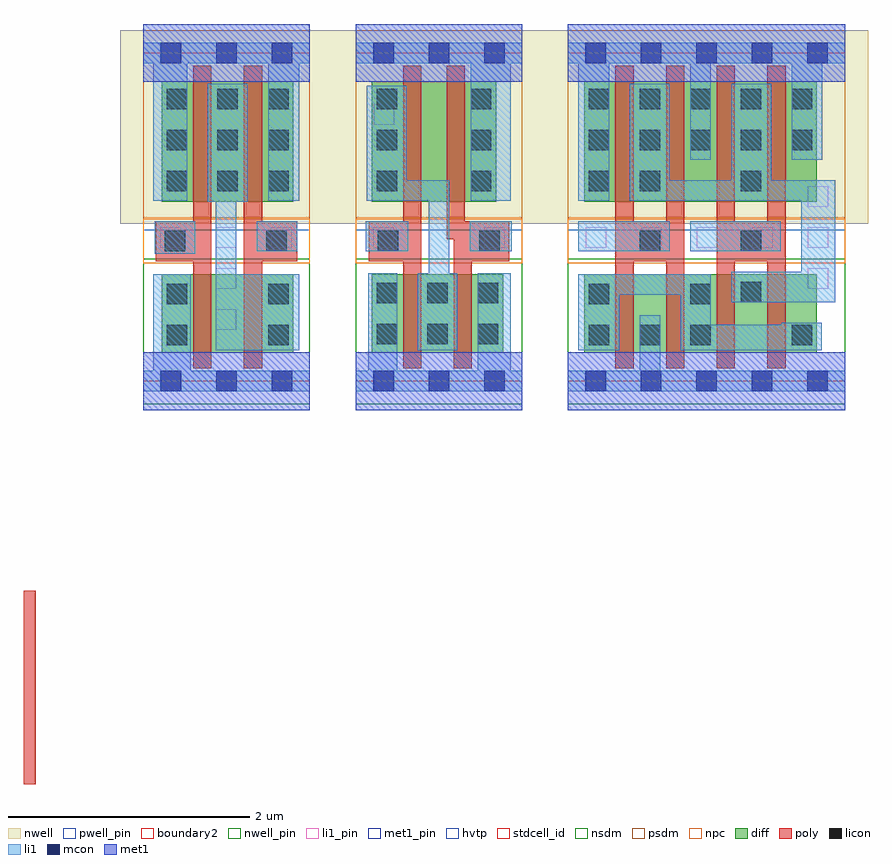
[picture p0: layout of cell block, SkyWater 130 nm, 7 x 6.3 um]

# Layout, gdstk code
import gdstk
lib = gdstk.Library(unit=1e-6, precision=1e-09)
def R(c, l, rs):  # rectangles x0, y0, x1, y1
    for r in rs: c.add(gdstk.rectangle(r[:2], r[2:], *l))
def A(c, l, x, y, w, h, nx, ny, dx, dy):  # array of equal rectangles
    R(c, l, [(x+i*dx, y+j*dy, x+i*dx+w, y+j*dy+h) for i in range(nx) for j in range(ny)])
def P(c, l, *ps):  # polygons
    for p in ps: c.add(gdstk.Polygon(p, *l))
nwell_pin = (64, 16)
nwell = (64, 20)
diff = (65, 20)
poly = (66, 20)
licon = (66, 44)
li1_pin = (67, 16)
li1 = (67, 20)
mcon = (67, 44)
met1_pin = (68, 16)
met1 = (68, 20)
hvtp = (78, 44)
stdcell_id = (81, 4)
nsdm = (93, 44)
psdm = (94, 20)
npc = (95, 20)
pwell_pin = (122, 16)
boundary2 = (236, 0)

sky130_fd_sc_hd__nand2_1 = lib.new_cell('sky130_fd_sc_hd__nand2_1')
R(sky130_fd_sc_hd__nand2_1, nwell_pin, [(0.14,2.635,0.31,2.805)])
R(sky130_fd_sc_hd__nand2_1, nwell, [(-0.19,1.305,1.57,2.91)])
R(sky130_fd_sc_hd__nand2_1, diff, [(0.155,0.235,1.245,0.885), (0.155,1.485,1.245,2.485)])
P(sky130_fd_sc_hd__nand2_1, poly, [(0.835,0.105),(0.835,2.615),(0.985,2.615),(0.985,1.325),(1.275,1.325),(1.275,0.995),(0.985,0.995),(0.985,0.105)],
  [(0.415,0.105),(0.415,0.995),(0.105,0.995),(0.105,1.325),(0.415,1.325),(0.415,2.615),(0.565,2.615),(0.565,0.105)])
A(sky130_fd_sc_hd__nand2_1, licon, 0.195, 1.575, 0.17, 0.17, 3, 3, 0.42, 0.34)
R(sky130_fd_sc_hd__nand2_1, licon, [(0.195,0.295,0.365,0.465), (1.035,0.295,1.205,0.465), (0.195,0.635,0.365,0.805), (1.035,0.635,1.205,0.805), (0.18,1.075,0.35,1.245), (1.02,1.075,1.19,1.245)])
A(sky130_fd_sc_hd__nand2_1, li1_pin, 0.14, 1.105, 0.17, 0.17, 3, 1, 0.46, 0)
R(sky130_fd_sc_hd__nand2_1, li1_pin, [(0.6,0.425,0.77,0.595), (0.6,0.765,0.77,0.935)])
R(sky130_fd_sc_hd__nand2_1, li1, [(0.095,1.055,0.43,1.325), (0.94,1.075,1.275,1.325)])
P(sky130_fd_sc_hd__nand2_1, li1, [(0,-0.085),(0,0.085),(0.085,0.085),(0.085,0.885),(0.395,0.885),(0.395,0.085),(1.38,0.085),(1.38,-0.085)],
  [(0.085,1.495),(0.085,2.635),(0,2.635),(0,2.805),(1.38,2.805),(1.38,2.635),(1.295,2.635),(1.295,1.495),(1.035,1.495),(1.035,2.635),(0.365,2.635),(0.365,1.495)],
  [(0.6,0.255),(0.6,1.485),(0.535,1.485),(0.535,2.465),(0.865,2.465),(0.865,1.485),(0.77,1.485),(0.77,0.885),(1.295,0.885),(1.295,0.255)])
A(sky130_fd_sc_hd__nand2_1, mcon, 0.145, -0.085, 0.17, 0.17, 3, 2, 0.46, 2.72)
R(sky130_fd_sc_hd__nand2_1, met1_pin, [(0.14,-0.085,0.31,0.085), (0.14,2.635,0.31,2.805)])
R(sky130_fd_sc_hd__nand2_1, hvtp, [(0,1.25,1.38,2.72)])
R(sky130_fd_sc_hd__nand2_1, stdcell_id, [(0,0,1.38,2.72)])
R(sky130_fd_sc_hd__nand2_1, nsdm, [(0,-0.19,1.38,1.015)])
R(sky130_fd_sc_hd__nand2_1, psdm, [(0,1.355,1.38,2.91)])
R(sky130_fd_sc_hd__nand2_1, npc, [(0,0.975,1.38,1.345)])
R(sky130_fd_sc_hd__nand2_1, pwell_pin, [(0.14,-0.085,0.31,0.085)])
R(sky130_fd_sc_hd__nand2_1, boundary2, [(0,0,1.38,2.72)])
sky130_fd_sc_hd__nand2_1.add(gdstk.FlexPath([(0,2.72),(1.38,2.72)], 0.48, ends="flush", simple_path=True, layer=68, datatype=20))  # met1
sky130_fd_sc_hd__nand2_1.add(gdstk.FlexPath([(0,0),(1.38,0)], 0.48, ends="flush", simple_path=True, layer=68, datatype=20))  # met1
sky130_fd_sc_hd__nand2_1.add(gdstk.Label('Y', (0.685,0.51), layer=67, texttype=5))
sky130_fd_sc_hd__nand2_1.add(gdstk.Label('Y', (0.685,0.85), layer=67, texttype=5))
sky130_fd_sc_hd__nand2_1.add(gdstk.Label('Y', (0.685,1.19), layer=67, texttype=5))
sky130_fd_sc_hd__nand2_1.add(gdstk.Label('B', (0.225,1.19), layer=67, texttype=5))
sky130_fd_sc_hd__nand2_1.add(gdstk.Label('A', (1.145,1.19), layer=67, texttype=5))
sky130_fd_sc_hd__nand2_1.add(gdstk.Label('VPB', (0.225,2.72), layer=64, texttype=5))
sky130_fd_sc_hd__nand2_1.add(gdstk.Label('VNB', (0.225,0), layer=64, texttype=59))
sky130_fd_sc_hd__nand2_1.add(gdstk.Label('VGND', (0.23,0), layer=68, texttype=5))
sky130_fd_sc_hd__nand2_1.add(gdstk.Label('VPWR', (0.225,2.72), layer=68, texttype=5))
sky130_fd_sc_hd__nand2_1.add(gdstk.Label('nand2_1', (0,0), layer=83, texttype=44))

sky130_fd_sc_hd__nor2_1 = lib.new_cell('sky130_fd_sc_hd__nor2_1')
R(sky130_fd_sc_hd__nor2_1, nwell_pin, [(0.15,2.635,0.32,2.805)])
R(sky130_fd_sc_hd__nor2_1, nwell, [(-0.19,1.305,1.57,2.91)])
R(sky130_fd_sc_hd__nor2_1, diff, [(0.135,0.235,1.225,0.885), (0.135,1.485,1.165,2.485)])
P(sky130_fd_sc_hd__nor2_1, poly, [(0.815,0.105),(0.815,1.175),(0.755,1.175),(0.755,2.615),(0.905,2.615),(0.905,1.325),(1.275,1.325),(1.275,0.995),(0.965,0.995),(0.965,0.105)],
  [(0.395,0.105),(0.395,0.995),(0.11,0.995),(0.11,1.325),(0.395,1.325),(0.395,2.615),(0.545,2.615),(0.545,0.105)])
A(sky130_fd_sc_hd__nor2_1, licon, 0.175, 0.305, 0.17, 0.17, 3, 2, 0.42, 0.34)
A(sky130_fd_sc_hd__nor2_1, licon, 0.175, 1.575, 0.17, 0.17, 1, 3, 0, 0.34)
A(sky130_fd_sc_hd__nor2_1, licon, 0.955, 1.575, 0.17, 0.17, 1, 3, 0, 0.34)
R(sky130_fd_sc_hd__nor2_1, licon, [(0.185,1.075,0.355,1.245), (1.025,1.075,1.195,1.245)])
R(sky130_fd_sc_hd__nor2_1, li1_pin, [(0.145,1.105,0.315,1.275), (1.065,1.105,1.235,1.275), (0.15,2.125,0.32,2.295)])
R(sky130_fd_sc_hd__nor2_1, li1, [(0.085,1.075,0.435,1.325), (0.945,1.075,1.295,1.325)])
P(sky130_fd_sc_hd__nor2_1, li1, [(0,-0.085),(0,0.085),(0.105,0.085),(0.105,0.895),(0.345,0.895),(0.345,0.085),(1.015,0.085),(1.015,0.895),(1.285,0.895),(1.285,0.085),(1.38,0.085),(1.38,-0.085)],
  [(0.955,1.495),(0.955,2.635),(0,2.635),(0,2.805),(1.38,2.805),(1.38,2.635),(1.285,2.635),(1.285,1.495)],
  [(0.515,0.255),(0.515,0.895),(0.605,0.895),(0.605,1.495),(0.095,1.495),(0.095,2.45),(0.425,2.45),(0.425,1.665),(0.775,1.665),(0.775,0.895),(0.845,0.895),(0.845,0.255)])
A(sky130_fd_sc_hd__nor2_1, mcon, 0.145, -0.085, 0.17, 0.17, 3, 2, 0.46, 2.72)
R(sky130_fd_sc_hd__nor2_1, met1_pin, [(0.15,-0.085,0.32,0.085), (0.15,2.635,0.32,2.805)])
R(sky130_fd_sc_hd__nor2_1, hvtp, [(0,1.25,1.38,2.72)])
R(sky130_fd_sc_hd__nor2_1, stdcell_id, [(0,0,1.38,2.72)])
R(sky130_fd_sc_hd__nor2_1, nsdm, [(0,-0.19,1.38,1.015)])
R(sky130_fd_sc_hd__nor2_1, psdm, [(0,1.355,1.38,2.91)])
R(sky130_fd_sc_hd__nor2_1, npc, [(0,0.975,1.38,1.345)])
R(sky130_fd_sc_hd__nor2_1, pwell_pin, [(0.15,-0.085,0.32,0.085)])
R(sky130_fd_sc_hd__nor2_1, boundary2, [(0,0,1.38,2.72)])
sky130_fd_sc_hd__nor2_1.add(gdstk.FlexPath([(0,2.72),(1.38,2.72)], 0.48, ends="flush", simple_path=True, layer=68, datatype=20))  # met1
sky130_fd_sc_hd__nor2_1.add(gdstk.FlexPath([(0,0),(1.38,0)], 0.48, ends="flush", simple_path=True, layer=68, datatype=20))  # met1
sky130_fd_sc_hd__nor2_1.add(gdstk.Label('B', (0.23,1.19), layer=67, texttype=5))
sky130_fd_sc_hd__nor2_1.add(gdstk.Label('Y', (0.235,2.21), layer=67, texttype=5))
sky130_fd_sc_hd__nor2_1.add(gdstk.Label('A', (1.15,1.19), layer=67, texttype=5))
sky130_fd_sc_hd__nor2_1.add(gdstk.Label('VPB', (0.235,2.72), layer=64, texttype=5))
sky130_fd_sc_hd__nor2_1.add(gdstk.Label('VNB', (0.235,0), layer=64, texttype=59))
sky130_fd_sc_hd__nor2_1.add(gdstk.Label('VGND', (0.23,0), layer=68, texttype=5))
sky130_fd_sc_hd__nor2_1.add(gdstk.Label('VPWR', (0.23,2.72), layer=68, texttype=5))
sky130_fd_sc_hd__nor2_1.add(gdstk.Label('nor2_1', (0,0), layer=83, texttype=44))

sky130_fd_sc_hd__nand2_2 = lib.new_cell('sky130_fd_sc_hd__nand2_2')
R(sky130_fd_sc_hd__nand2_2, nwell_pin, [(0.15,2.635,0.32,2.805)])
R(sky130_fd_sc_hd__nand2_2, nwell, [(-0.19,1.305,2.49,2.91)])
R(sky130_fd_sc_hd__nand2_2, diff, [(0.135,0.235,2.065,0.885), (0.135,1.485,2.065,2.485)])
P(sky130_fd_sc_hd__nand2_2, poly, [(1.235,0.105),(1.235,2.615),(1.385,2.615),(1.385,1.325),(1.655,1.325),(1.655,2.615),(1.805,2.615),(1.805,0.105),(1.655,0.105),(1.655,0.995),(1.385,0.995),(1.385,0.105)],
  [(0.395,0.105),(0.395,2.615),(0.545,2.615),(0.545,1.325),(0.815,1.325),(0.815,2.615),(0.965,2.615),(0.965,0.105),(0.815,0.105),(0.815,0.995),(0.545,0.995),(0.545,0.105)])
A(sky130_fd_sc_hd__nand2_2, licon, 0.175, 0.295, 0.17, 0.17, 3, 1, 0.42, 0)
A(sky130_fd_sc_hd__nand2_2, licon, 0.175, 1.915, 0.17, 0.17, 5, 2, 0.42, 0.34)
R(sky130_fd_sc_hd__nand2_2, licon, [(1.855,0.295,2.025,0.465), (0.175,0.635,0.345,0.805), (1.015,0.635,1.185,0.805), (1.435,0.655,1.605,0.825), (0.595,1.075,0.765,1.245), (1.435,1.075,1.605,1.245), (0.175,1.575,0.345,1.745), (0.595,1.575,0.765,1.745), (1.435,1.575,1.605,1.745)])
A(sky130_fd_sc_hd__nand2_2, li1_pin, 0.15, 1.105, 0.17, 0.17, 5, 1, 0.46, 0)
R(sky130_fd_sc_hd__nand2_2, li1_pin, [(1.99,0.765,2.16,0.935), (1.99,1.445,2.16,1.615)])
R(sky130_fd_sc_hd__nand2_2, li1, [(0.085,1.075,0.845,1.325), (1.015,1.075,1.765,1.325)])
P(sky130_fd_sc_hd__nand2_2, li1, [(0,-0.085),(0,0.085),(0.595,0.085),(0.595,0.545),(0.765,0.545),(0.765,0.085),(2.3,0.085),(2.3,-0.085)],
  [(0.085,1.495),(0.085,2.635),(0,2.635),(0,2.805),(2.3,2.805),(2.3,2.635),(2.11,2.635),(2.11,1.835),(1.855,1.835),(1.855,2.635),(1.185,2.635),(1.185,1.835),(1.015,1.835),(1.015,2.635),(0.345,2.635),(0.345,1.495)],
  [(0.085,0.255),(0.085,0.885),(1.185,0.885),(1.185,0.465),(1.775,0.465),(1.775,0.485),(2.105,0.485),(2.105,0.255),(0.935,0.255),(0.935,0.715),(0.425,0.715),(0.425,0.255)],
  [(1.355,0.655),(1.355,0.905),(1.935,0.905),(1.935,1.495),(0.515,1.495),(0.515,2.465),(0.845,2.465),(0.845,1.665),(1.355,1.665),(1.355,2.465),(1.685,2.465),(1.685,1.665),(2.215,1.665),(2.215,0.655)])
A(sky130_fd_sc_hd__nand2_2, mcon, 0.145, -0.085, 0.17, 0.17, 5, 2, 0.46, 2.72)
R(sky130_fd_sc_hd__nand2_2, met1_pin, [(0.15,-0.085,0.32,0.085), (0.15,2.635,0.32,2.805)])
R(sky130_fd_sc_hd__nand2_2, hvtp, [(0,1.25,2.3,2.72)])
R(sky130_fd_sc_hd__nand2_2, stdcell_id, [(0,0,2.3,2.72)])
R(sky130_fd_sc_hd__nand2_2, nsdm, [(0,-0.19,2.3,1.015)])
R(sky130_fd_sc_hd__nand2_2, psdm, [(0,1.355,2.3,2.91)])
R(sky130_fd_sc_hd__nand2_2, npc, [(0,0.975,2.3,1.345)])
R(sky130_fd_sc_hd__nand2_2, pwell_pin, [(0.15,-0.085,0.32,0.085)])
R(sky130_fd_sc_hd__nand2_2, boundary2, [(0,0,2.3,2.72)])
sky130_fd_sc_hd__nand2_2.add(gdstk.FlexPath([(0,2.72),(2.3,2.72)], 0.48, ends="flush", simple_path=True, layer=68, datatype=20))  # met1
sky130_fd_sc_hd__nand2_2.add(gdstk.FlexPath([(0,0),(2.3,0)], 0.48, ends="flush", simple_path=True, layer=68, datatype=20))  # met1
sky130_fd_sc_hd__nand2_2.add(gdstk.Label('Y', (2.075,0.85), layer=67, texttype=5))
sky130_fd_sc_hd__nand2_2.add(gdstk.Label('Y', (2.075,1.19), layer=67, texttype=5))
sky130_fd_sc_hd__nand2_2.add(gdstk.Label('Y', (2.075,1.53), layer=67, texttype=5))
sky130_fd_sc_hd__nand2_2.add(gdstk.Label('A', (1.615,1.19), layer=67, texttype=5))
sky130_fd_sc_hd__nand2_2.add(gdstk.Label('B', (0.695,1.19), layer=67, texttype=5))
sky130_fd_sc_hd__nand2_2.add(gdstk.Label('VPB', (0.23,2.72), layer=64, texttype=5))
sky130_fd_sc_hd__nand2_2.add(gdstk.Label('VNB', (0.23,0), layer=64, texttype=59))
sky130_fd_sc_hd__nand2_2.add(gdstk.Label('VGND', (0.23,0), layer=68, texttype=5))
sky130_fd_sc_hd__nand2_2.add(gdstk.Label('VPWR', (0.23,2.72), layer=68, texttype=5))
sky130_fd_sc_hd__nand2_2.add(gdstk.Label('nand2_2', (0,0), layer=83, texttype=44))

block = lib.new_cell('block')
R(block, poly, [(-0.99,-3.34,-0.89,-1.74)])
block.add(gdstk.Reference(sky130_fd_sc_hd__nand2_1, (0,0)))
block.add(gdstk.Reference(sky130_fd_sc_hd__nor2_1, (1.76,0)))
block.add(gdstk.Reference(sky130_fd_sc_hd__nand2_2, (3.52,0)))

lib.write_gds('block.gds')
